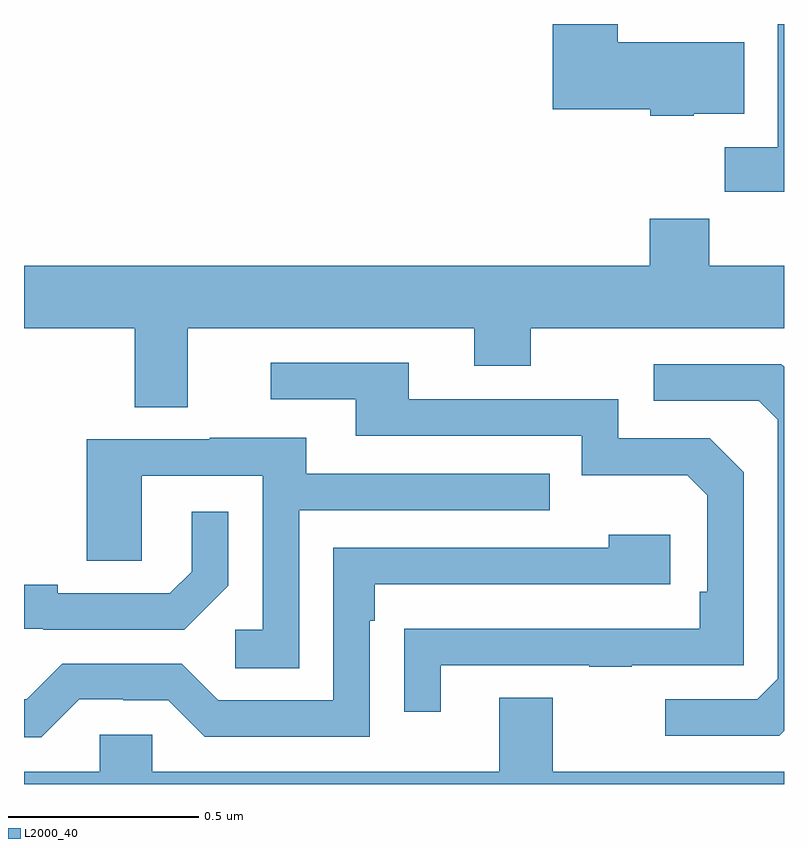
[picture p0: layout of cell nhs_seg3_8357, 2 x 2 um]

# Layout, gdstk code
import gdstk
lib = gdstk.Library(unit=1e-6, precision=1e-09)
def P(c, l, *ps):  # polygons
    for p in ps: c.add(gdstk.Polygon(p, *l))
L2000_40 = (2000, 40)

nhs_seg3_8357 = lib.new_cell('nhs_seg3_8357')
P(nhs_seg3_8357, L2000_40, [(217,684.4),(216.983,684.4),(216.983,684.076),(216.844,684.076),(216.844,683.958),(217,683.958)],
  [(216.762,684.164),(216.895,684.164),(216.895,684.352),(216.562,684.352),(216.562,684.4),(216.392,684.4),(216.392,684.176),(216.648,684.176),(216.648,684.158),(216.762,684.158)],
  [(215.431,683.6),(216.185,683.6),(216.185,683.501),(216.333,683.501),(216.333,683.6),(217,683.6),(217,683.764),(216.803,683.764),(216.803,683.888),(216.647,683.888),(216.647,683.764),(215,683.764),(215,683.6),(215.291,683.6),(215.291,683.392),(215.431,683.392)],
  [(216.097,682.713),(216.487,682.713),(216.487,682.708),(216.599,682.708),(216.599,682.713),(216.894,682.713),(216.894,683.22),(216.804,683.31),(216.564,683.31),(216.564,683.412),(216.013,683.412),(216.013,683.508),(215.649,683.508),(215.649,683.412),(215.873,683.412),(215.873,683.316),(216.468,683.316),(216.468,683.213),(216.745,683.213),(216.798,683.16),(216.798,682.906),(216.778,682.906),(216.778,682.809),(216.103,682.809),(216.103,682.808),(216.001,682.808),(216.001,682.59),(216.097,682.59)],
  [(217,682.54),(217,683.498),(216.993,683.505),(216.657,683.505),(216.657,683.409),(216.933,683.409),(216.984,683.358),(216.984,682.677),(216.93,682.623),(216.687,682.623),(216.687,682.527),(216.987,682.527)],
  [(215.724,683.121),(216.383,683.121),(216.383,683.217),(215.743,683.217),(215.743,683.311),(215.489,683.311),(215.489,683.307),(215.165,683.307),(215.165,682.987),(215.31,682.987),(215.31,683.211),(215.628,683.211),(215.628,682.806),(215.556,682.806),(215.556,682.705),(215.724,682.705)],
  [(215.538,682.922),(215.538,683.116),(215.441,683.116),(215.441,682.959),(215.384,682.902),(215.089,682.902),(215.089,682.925),(215,682.925),(215,682.809),(215.05,682.809),(215.05,682.806),(215.422,682.806)],
  [(215.145,682.623),(215.261,682.623),(215.261,682.62),(215.379,682.62),(215.475,682.524),(215.91,682.524),(215.91,682.829),(215.923,682.829),(215.923,682.926),(216.7,682.926),(216.7,683.056),(216.539,683.056),(216.539,683.022),(215.814,683.022),(215.814,682.62),(215.511,682.62),(215.415,682.716),(215.1,682.716),(215.007,682.623),(215,682.623),(215,682.523),(215.045,682.523)],
  [(217,682.432),(216.391,682.432),(216.391,682.627),(216.251,682.627),(216.251,682.432),(215.337,682.432),(215.337,682.53),(215.199,682.53),(215.199,682.432),(215,682.432),(215,682.4),(217,682.4)])

lib.write_gds('nhs_seg3_8357.gds')
